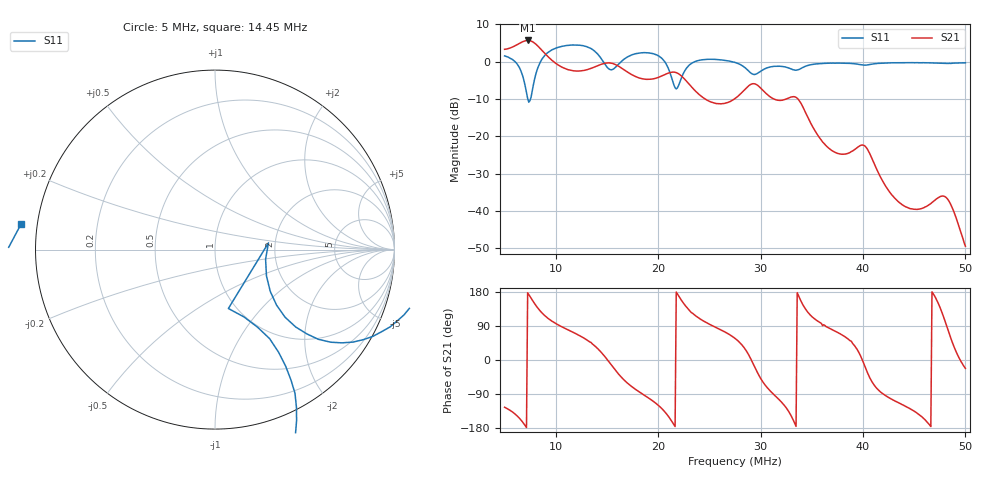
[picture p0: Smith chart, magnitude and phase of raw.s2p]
! S11/S21 only; reverse parameters are placeholders. Device calibration unverified.
! NanoVNA F V2 profile | COM3 | 2026-09-08T10:43:29.4193839-04:00 | device calibration unverified
# HZ S RI R 50
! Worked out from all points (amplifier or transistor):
!   401 points, 5 MHz to 50 MHz, reference 50 ohm
!   highest |S21| = 5.7 dB at 7.25 MHz (marker M1)
!   |S21| within 3 dB of that: start of sweep to 8.768 MHz
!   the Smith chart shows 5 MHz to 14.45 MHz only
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5000000  1.184 -0.1737  -0.8325 -1.206  0 0  0 0
6350000  0.7073 -0.5196  -1.514 -0.8385  0 0  0 0
7250000  0.2867 -0.147  -1.924 0.0923  0 0  0 0
8487500  0.4539 -0.8799  -0.9446 1.164  0 0  0 0
1.04e7  0.00836 -1.582  -0.00279 0.8752  0 0  0 0
1.25375e7  -0.8154 -1.434  0.3659 0.6628  0 0  0 0
1.41125e7  -1.233 -0.2449  0.772 0.436  0 0  0 0
1.54625e7  0.0413 0.7791  0.9224 -0.2398  0 0  0 0
1.72625e7  1.194 -0.1804  0.2696 -0.6355  0 0  0 0
2.0075e7  0.363 -1.131  -0.3208 -0.5325  0 0  0 0
2.13125e7  -0.5057 -0.3423  -0.6844 -0.2334  0 0  0 0
2.24375e7  0.3068 0.615  -0.5355 0.2964  0 0  0 0
2.40125e7  1.032 0.1719  -0.1226 0.3408  0 0  0 0
2.75e7  0.8884 -0.4096  0.1744 0.2696  0 0  0 0
2.91875e7  0.614 -0.3065  0.5043 -0.0435  0 0  0 0
3.03125e7  0.7558 -0.2318  0.1926 -0.3532  0 0  0 0
3.335e7  0.6573 -0.4038  -0.3311 -0.0693  0 0  0 0
3.50375e7  0.7791 -0.4874  -0.0557 0.1264  0 0  0 0
4.02125e7  0.5601 -0.7045  0.0699 -0.0236  0 0  0 0
4.2575e7  0.5244 -0.8077  -0.00322 -0.0179  0 0  0 0
4.80875e7  0.2975 -0.898  -0.00175 0.0152  0 0  0 0
5e7  0.2413 -0.9377  0.00313 -0.00128  0 0  0 0
